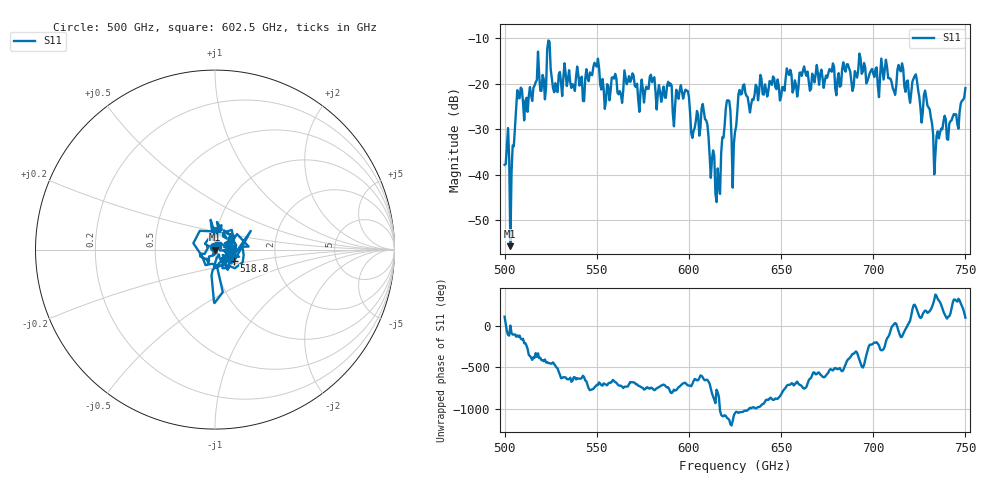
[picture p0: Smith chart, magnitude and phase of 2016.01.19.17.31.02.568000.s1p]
!Created with skrf (http://scikit-rf.org).
# GHz S RI R 50.0
!freq ReS11 ImS11
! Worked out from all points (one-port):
!   401 points, 500 GHz to 750 GHz, reference 50 ohm
!   lowest |S11| = -55.6 dB at 503.1 GHz (marker M1), VSWR 1.00, Z = 50.2 + j0.00888 ohm
!   |S11| at or under -10 dB: start of sweep to end of sweep
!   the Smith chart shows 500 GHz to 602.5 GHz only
!   S11 on the Smith chart (normalised r, x): 500 GHz: 0.99, +0.02; 518.8 GHz: 1.23, -0.16; 602.5 GHz: 1.04, +0.05
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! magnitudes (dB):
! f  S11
! 500 GHz  -37.8
! 503.1 GHz  -55.6
! 508.1 GHz  -23.2
! 511.2 GHz  -23.8
! 518.8 GHz  -18.1
! 521.2 GHz  -19.0
! 524.4 GHz  -10.8
! 527.5 GHz  -19.9
! 531.2 GHz  -22.7
! 550 GHz  -16.3
! 553.8 GHz  -21.2
! 562.5 GHz  -21.6
! 593.8 GHz  -22.2
! 598.8 GHz  -21.5
! 602.5 GHz  -30.4
! 608.1 GHz  -26.1
! 615.6 GHz  -38.6
! 620.6 GHz  -23.7
! 625 GHz  -30.6
! 628.8 GHz  -22.2
! 656.2 GHz  -21.9
! 687.5 GHz  -17.3
! 711.2 GHz  -21.6
! 715 GHz  -17.3
! 718.8 GHz  -19.3
! 728.8 GHz  -22.9
! 734.4 GHz  -31.4
! 750 GHz  -21.0
